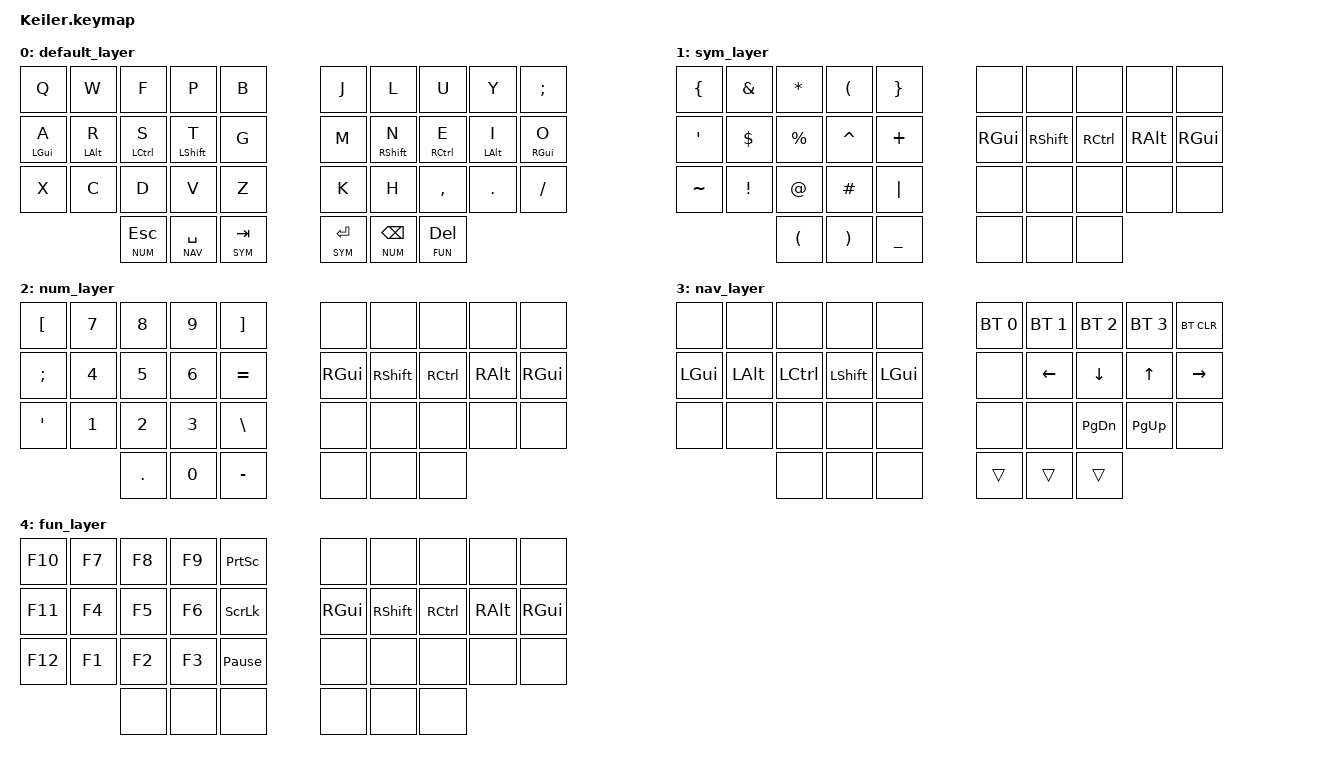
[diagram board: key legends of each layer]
// Copyright (c) 2022 The ZMK Contributors
// SPDX-License-Identifier: MIT

#include <behaviors.dtsi>
#include <dt-bindings/zmk/keys.h>
#include <dt-bindings/zmk/bt.h>
#include <dt-bindings/zmk/outputs.h>

#define SYM 1
#define NUM 2
#define NAV 3 //new layer for navigation
#define FUN 4 //new layer for function


&caps_word {
    continue-list = <ESC>;
};



/ {
    
// ╭──────────────╮ ╭──────────────╮
// │ 0  1  2  3  4│ │ 5  6  7  8  9│
// │10 11 12 13 14│ │15 16 17 18 19│
// │20 21 22 23 24│ │25 26 27 28 29│
// ╰─────╮30 31 32│ │33 34 35╭─────╯
//       ╰────────╯ ╰────────╯

    combos {
        compatible = "zmk,combos";

        combo_caps {
            layers = <0>;
            timeout-ms = <75>;
            require-prior-idle-ms = <100>;
            key-positions = <13 16>;
            bindings = <&caps_word>;
        };
        //add some combos
        combo_lt {
            layers = <0>;
            timeout-ms = <75>;
            require-prior-idle-ms = <100>;
            key-positions = <26 27>;
            bindings = <&kp LT>;
        };

        combo_gt {
            layers = <0>;
            timeout-ms = <75>;
            require-prior-idle-ms = <100>;
            key-positions = <28 29>;
            bindings = <&kp GT>;
        };

        combo_dq {
            layers = <0>;
            timeout-ms = <75>;
            require-prior-idle-ms = <100>;
            key-positions = <27 28>;
            bindings = <&kp DOUBLE_QUOTES>;
        };

        combo_minus {
            layers = <0>;
            timeout-ms = <75>;
            require-prior-idle-ms = <100>;
            key-positions = <7 8>;
            bindings = <&kp MINUS>;
        };
    };

    behaviors {
        ht: hold_tap {
            compatible = "zmk,behavior-hold-tap";
            #binding-cells = <2>;
            flavor = "tap-preferred";
            tapping-term-ms = <200>;
            require-prior-idle-ms = <175>;
            bindings = <&kp>, <&kp>;
        };

        lp: layer_press {
            compatible = "zmk,behavior-hold-tap";
            #binding-cells = <2>;
            flavor = "hold-preferred";
            tapping-term-ms = <200>;
            require-prior-idle-ms = <125>;
            // retro-tap;
            bindings = <&mo>, <&kp>;
        };

        mp: mod_press {
            compatible = "zmk,behavior-hold-tap";
            #binding-cells = <2>;
            flavor = "tap-preferred";
            tapping-term-ms = <200>;
            require-prior-idle-ms = <125>;
            bindings = <&kp>, <&kp>;
        };

        cs: ctrl_shift {
            compatible = "zmk,behavior-tap-dance";
            #binding-cells = <0>;
            tapping-term-ms = <200>;
            bindings = <&kp LCTRL>, <&kp LC(LSHFT)>;
        };
    };

// colmak DH
    keymap {
        compatible = "zmk,keymap";
        default_layer {
            bindings = <
        //╭──────────┬──────────┬──────────┬──────────┬──────────╮          ╭──────────┬──────────┬──────────┬──────────┬──────────╮
        //│  Q       │  W       │  F       │  P       │  B       │          │  J       │  L       │  U       │  Y       │  ;       │
            &kp Q      &kp W      &kp F      &kp P      &kp B                 &kp J      &kp L      &kp U      &kp Y      &kp SEMI
        //├──────────┼──────────┼──────────┼──────────┼──────────┤          ├──────────┼──────────┼──────────┼──────────┼──────────┤
        //│  A       │  R       │  S       │  T       │  G       │          │  M       │  N       │  E       │  I       │   O      │
           &ht LGUI A &ht LALT R &ht LCTRL S &ht LSHFT T &kp G                &kp M    &ht RSHFT N &ht RCTRL E &ht LALT I &ht RGUI O
        //├──────────┼──────────┼──────────┼──────────┼──────────┤          ├──────────┼──────────┼──────────┼──────────┼──────────┤
        //│  Z       │  C       │  D       │  V       │  Z       │          │  K       │  H       │ , <      │ . >      │ / ?      │
            &kp X      &kp C      &kp D      &kp V      &kp Z                 &kp K      &kp H      &kp COMMA  &kp DOT    &kp FSLH
        //╰──────────┴──────────┴──────────┼──────────┼──────────┤          ├──────────┼──────────┼──────────┴──────────┴──────────╯
                                  &lp NUM ESC    &lp NAV SPACE    &lp SYM TAB    &lp SYM RET     &lp NUM BSPC   &lp FUN DEL //change miryoku like thumb@default
        //                      ╰──────────┴──────────┴──────────╯          ╰──────────┴──────────┴──────────╯
        >;
        };

//new layer for symbols get rid of ;
         sym_layer {
            bindings = <
        //╭──────────┬──────────┬──────────┬──────────┬──────────╮          ╭──────────┬──────────┬──────────┬──────────┬──────────╮
        //│     {    │     &    │     *    │    (     │    }     │          │          │          │          │          │          │
            &kp LBRC   &kp AMPS  &kp ASTERISK   &kp LPAR  &kp RBRC            &none      &none      &none      &none      &none
        //├──────────┼──────────┼──────────┼──────────┼──────────┤          ├──────────┼──────────┼──────────┼──────────┼──────────┤
        //│     '    │     $    │     %    │    ^     │     +    │          │          │          │          │          │          │
            &kp SQT   &kp DLLR &kp PERCENT   &kp CARET  &kp PLUS             &kp RGUI  &kp RSHIFT   &kp RCTRL     &kp RALT  &kp RGUI
        //├──────────┼──────────┼──────────┼──────────┼──────────┤          ├──────────┼──────────┼──────────┼──────────┼──────────┤
        //│     ~    │     !    │     @    │    #     │     |    │          │          │          │          │          │          │
            &kp TILDE  &kp EXCL  &kp AT     &kp HASH    &kp PIPE                 &none      &none      &none   &none      &none
        //╰──────────┴──────────┴──────────┼──────────┼──────────┤          ├──────────┼──────────┼──────────┴──────────┴──────────╯
        //                      │          │          │          │          │          │          │          │ 
                                  &kp LPAR   &kp RPAR   &kp UNDER            &none      &none      &none
        //                      ╰──────────┴──────────┴──────────╯          ╰──────────┴──────────┴──────────╯
            >;
        };

//mod right half@num
        num_layer {
            bindings = <
        //╭──────────┬──────────┬──────────┬──────────┬──────────╮          ╭──────────┬──────────┬──────────┬──────────┬──────────╮
        //│          │    7     │    8     │    9     │          │          │          │          │          │          │          │
          &kp LBKT      &kp N7      &kp N8      &kp N9      &kp RBKT            &none      &none      &none      &none      &none
        //├──────────┼──────────┼──────────┼──────────┼──────────┤          ├──────────┼──────────┼──────────┼──────────┼──────────┤
        //│          │    4     │    5     │    6     │          │          │          │          │          │          │          │
          &kp SEMI      &kp N4      &kp N5      &kp N6      &kp EQUAL            &kp RGUI      &kp RSHFT      &kp RCTRL      &kp RALT      &kp RGUI
        //├──────────┼──────────┼──────────┼──────────┼──────────┤          ├──────────┼──────────┼──────────┼──────────┼──────────┤
        //│          │    1     │    2     │    3     │    \     │          │          │          │          │          │          │
          &kp SQT      &kp N1      &kp N2      &kp N3      &kp BSLH            &none      &none      &none   &none      &none
        //╰──────────┴──────────┴──────────┼──────────┼──────────┤          ├──────────┼──────────┼──────────┴──────────┴──────────╯
                                &kp DOT      &kp N0      &kp MINUS              &none      &none      &none
        //                      ╰──────────┴──────────┴──────────╯          ╰──────────┴──────────┴──────────╯
            >;
        };

//new layer for navigation
        nav_layer {
            bindings = <
        //╭──────────┬──────────┬──────────┬──────────┬──────────╮          ╭──────────┬──────────┬──────────┬──────────┬──────────╮
        //│          │          │          │          │          │          │          │          │          │          │          │
          &none       &none      &none      &none       &none              &bt BT_SEL 0 &bt BT_SEL 1 &bt BT_SEL 2 &bt BT_SEL 3  &bt BT_CLR
        //├──────────┼──────────┼──────────┼──────────┼──────────┤          ├──────────┼──────────┼──────────┼──────────┼──────────┤
        //│          │          │          │          │          │          │          │          │          │          │          │
          &kp LGUI    &kp LALT   &kp LCTRL  &kp LSHFT  &kp LGUI               &none      &kp LEFT   &kp DOWN   &kp UP  &kp RIGHT
        //├──────────┼──────────┼──────────┼──────────┼──────────┤          ├──────────┼──────────┼──────────┼──────────┼──────────┤
        //│          │          │          │          │          │          │          │          │          │          │          │
          &none       &none      &none      &none       &none                &none      &none      &kp PG_DN  &kp PG_UP      &none
        //╰──────────┴──────────┴──────────┼──────────┼──────────┤          ├──────────┼──────────┼──────────┴──────────┴──────────╯
                                  &none      &none      &none                   &trans      &trans      &trans
        //                      ╰──────────┴──────────┴──────────╯          ╰──────────┴──────────┴──────────╯
            >;
        };

//new layer for function
                fun_layer {
            bindings = <
        //╭──────────┬──────────┬──────────┬──────────┬──────────╮          ╭──────────┬──────────┬──────────┬──────────┬──────────╮
        //│   F10    │    F7    │    F8    │    F9    │          │          │          │          │          │          │          │
          &kp F10      &kp F7     &kp F8     &kp F9    &kp PSCRN              &none      &none      &none      &none      &none
        //├──────────┼──────────┼──────────┼──────────┼──────────┤          ├──────────┼──────────┼──────────┼──────────┼──────────┤
        //│   F11    │    F4    │    F5    │    F6    │          │          │          │          │          │          │          │
          &kp F11      &kp F4     &kp F5     &kp F6     &kp SCROLLLOCK        &kp RGUI   &kp RSHIFT &kp RCTRL   &kp RALT   &kp RGUI
        //├──────────┼──────────┼──────────┼──────────┼──────────┤          ├──────────┼──────────┼──────────┼──────────┼──────────┤
        //│   F12    │    F1    │    F2    │    F3    │          │          │          │          │          │          │          │
          &kp F12      &kp F1     &kp F2     &kp F3     &kp PAUSE_BREAK        &none      &none      &none     &none      &none
        //╰──────────┴──────────┴──────────┼──────────┼──────────┤          ├──────────┼──────────┼──────────┴──────────┴──────────╯
                                  &none      &none      &none                   &none      &none      &none
        //                      ╰──────────┴──────────┴──────────╯          ╰──────────┴──────────┴──────────╯
            >;
        };

    };
};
